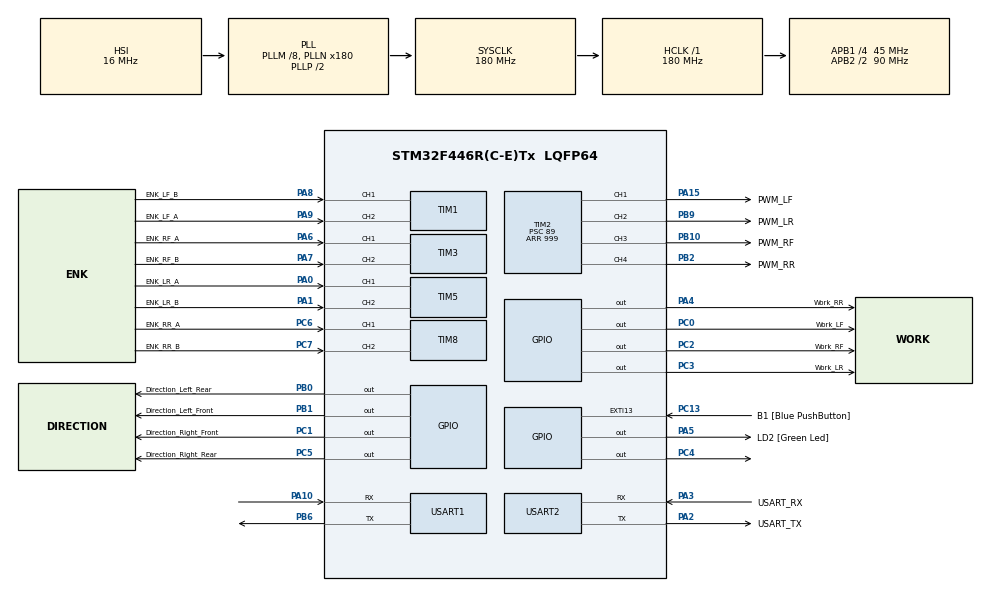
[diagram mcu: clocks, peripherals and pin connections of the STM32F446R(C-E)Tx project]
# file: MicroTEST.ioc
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Dma.Request0=USART2_RX
Dma.Request1=USART2_TX
Dma.USART2_RX.0.Direction=DMA_PERIPH_TO_MEMORY
Dma.USART2_RX.0.FIFOMode=DMA_FIFOMODE_DISABLE
Dma.USART2_RX.0.Instance=DMA1_Stream5
Dma.USART2_RX.0.MemDataAlignment=DMA_MDATAALIGN_BYTE
Dma.USART2_RX.0.MemInc=DMA_MINC_ENABLE
Dma.USART2_RX.0.Mode=DMA_CIRCULAR
Dma.USART2_RX.0.PeriphDataAlignment=DMA_PDATAALIGN_BYTE
Dma.USART2_RX.0.PeriphInc=DMA_PINC_DISABLE
Dma.USART2_RX.0.Priority=DMA_PRIORITY_VERY_HIGH
Dma.USART2_TX.1.Direction=DMA_MEMORY_TO_PERIPH
Dma.USART2_TX.1.FIFOMode=DMA_FIFOMODE_DISABLE
Dma.USART2_TX.1.Instance=DMA1_Stream6
Dma.USART2_TX.1.MemDataAlignment=DMA_MDATAALIGN_BYTE
Dma.USART2_TX.1.MemInc=DMA_MINC_ENABLE
Dma.USART2_TX.1.Mode=DMA_NORMAL
Dma.USART2_TX.1.PeriphDataAlignment=DMA_PDATAALIGN_BYTE
Dma.USART2_TX.1.PeriphInc=DMA_PINC_DISABLE
Dma.USART2_TX.1.Priority=DMA_PRIORITY_VERY_HIGH
FREERTOS.Tasks01=defaultTask,24,3000,StartDefaultTask,Default,NULL,Dynamic,NULL,NULL
Mcu.Family=STM32F4
Mcu.Name=STM32F446R(C-E)Tx
Mcu.Package=LQFP64
NVIC.DMA1_Stream5_IRQn=true\:5\:0\:false\:false\:true\:true\:false\:true\:true
NVIC.DMA1_Stream6_IRQn=true\:5\:0\:false\:false\:true\:true\:false\:true\:true
NVIC.PriorityGroup=NVIC_PRIORITYGROUP_4
NVIC.TIM6_DAC_IRQn=true\:15\:0\:false\:false\:true\:false\:false\:true\:true
NVIC.TimeBase=TIM6_DAC_IRQn
NVIC.TimeBaseIP=TIM6
NVIC.USART1_IRQn=true\:5\:0\:false\:false\:true\:true\:true\:true\:true
NVIC.USART2_IRQn=true\:5\:0\:false\:false\:true\:true\:true\:true\:true
PA0-WKUP.GPIO_Label=ENK_LR_A
PA0-WKUP.Signal=S_TIM5_CH1
PA1.GPIO_Label=ENK_LR_B
PA1.Signal=S_TIM5_CH2
PA10.Mode=Asynchronous
PA10.Signal=USART1_RX
PA13.GPIO_Label=TMS
PA13.Mode=Serial_Wire
PA13.Signal=SYS_JTMS-SWDIO
PA14.GPIO_Label=TCK
PA14.Mode=Serial_Wire
PA14.Signal=SYS_JTCK-SWCLK
PA15.GPIO_Label=PWM_LF
PA15.Signal=S_TIM2_CH1_ETR
PA2.GPIO_Label=USART_TX
PA2.Mode=Asynchronous
PA2.Signal=USART2_TX
PA3.GPIO_Label=USART_RX
PA3.Mode=Asynchronous
PA3.Signal=USART2_RX
PA4.GPIO_Label=Work_RR
PA4.Signal=GPIO_Output
PA5.GPIO_Label=LD2 [Green Led]
PA5.Signal=GPIO_Output
PA6.GPIO_Label=ENK_RF_A
PA6.Signal=S_TIM3_CH1
PA7.GPIO_Label=ENK_RF_B
PA7.Signal=S_TIM3_CH2
PA8.GPIO_Label=ENK_LF_B
PA8.Signal=S_TIM1_CH1
PA9.GPIO_Label=ENK_LF_A
PA9.Signal=S_TIM1_CH2
PB0.GPIO_Label=Direction_Left_Rear
PB0.Signal=GPIO_Output
PB1.GPIO_Label=Direction_Left_Front
PB1.Signal=GPIO_Output
PB10.GPIO_Label=PWM_RF
PB10.Signal=S_TIM2_CH3
PB2.GPIO_Label=PWM_RR
PB2.Signal=S_TIM2_CH4
PB3.GPIO_Label=SWO
PB3.Signal=SYS_JTDO-SWO
PB6.Mode=Asynchronous
PB6.Signal=USART1_TX
PB9.GPIO_Label=PWM_LR
PB9.Signal=S_TIM2_CH2
PC0.GPIO_Label=Work_LF
PC0.Signal=GPIO_Output
PC1.GPIO_Label=Direction_Right_Front
PC1.Signal=GPIO_Output
PC13.GPIO_Label=B1 [Blue PushButton]
PC13.GPIO_ModeDefaultEXTI=GPIO_MODE_IT_FALLING
PC13.Signal=GPXTI13
PC14-OSC32_IN.Mode=LSE-External-Oscillator
PC14-OSC32_IN.Signal=RCC_OSC32_IN
PC15-OSC32_OUT.Mode=LSE-External-Oscillator
PC15-OSC32_OUT.Signal=RCC_OSC32_OUT
PC2.GPIO_Label=Work_RF
PC2.Signal=GPIO_Output
PC3.GPIO_Label=Work_LR
PC3.Signal=GPIO_Output
PC4.Signal=GPIO_Output
PC5.GPIO_Label=Direction_Right_Rear
PC5.Signal=GPIO_Output
PC6.GPIO_Label=ENK_RR_A
PC6.Signal=S_TIM8_CH1
PC7.GPIO_Label=ENK_RR_B
PC7.Signal=S_TIM8_CH2
PH0-OSC_IN.Mode=HSE-External-Oscillator
PH0-OSC_IN.Signal=RCC_OSC_IN
PH1-OSC_OUT.Mode=HSE-External-Oscillator
PH1-OSC_OUT.Signal=RCC_OSC_OUT
ProjectManager.HeapSize=0x200
ProjectManager.StackSize=0x400
ProjectManager.TargetToolchain=STM32CubeIDE
RCC.48MHZClocksFreq_Value=84000000
RCC.AHBFreq_Value=180000000
RCC.APB1CLKDivider=RCC_HCLK_DIV4
RCC.APB1Freq_Value=45000000
RCC.APB1TimFreq_Value=90000000
RCC.APB2CLKDivider=RCC_HCLK_DIV2
RCC.APB2Freq_Value=90000000
RCC.APB2TimFreq_Value=180000000
RCC.CortexFreq_Value=180000000
RCC.FLatency-AdvancedSettings=FLASH_LATENCY_5
RCC.HCLKFreq_Value=180000000
RCC.HSE_VALUE=8000000
RCC.HSI_VALUE=16000000
RCC.PLLM=8
RCC.PLLN=180
RCC.SYSCLKFreq_VALUE=180000000
RCC.SYSCLKSource=RCC_SYSCLKSOURCE_PLLCLK
RCC.USBFreq_Value=180000000
RCC.VCOOutputFreq_Value=360000000
SH.S_TIM1_CH1.0=TIM1_CH1,Encoder_Interface
SH.S_TIM1_CH2.0=TIM1_CH2,Encoder_Interface
SH.S_TIM2_CH1_ETR.0=TIM2_CH1,PWM Generation1 CH1
SH.S_TIM2_CH2.0=TIM2_CH2,PWM Generation2 CH2
SH.S_TIM2_CH3.0=TIM2_CH3,PWM Generation3 CH3
SH.S_TIM2_CH4.0=TIM2_CH4,PWM Generation4 CH4
SH.S_TIM3_CH1.0=TIM3_CH1,Encoder_Interface
SH.S_TIM3_CH2.0=TIM3_CH2,Encoder_Interface
SH.S_TIM5_CH1.0=TIM5_CH1,Encoder_Interface
SH.S_TIM5_CH2.0=TIM5_CH2,Encoder_Interface
SH.S_TIM8_CH1.0=TIM8_CH1,Encoder_Interface
SH.S_TIM8_CH2.0=TIM8_CH2,Encoder_Interface
TIM1.EncoderMode=TIM_ENCODERMODE_TI12
TIM1.IC1Filter=5
TIM1.IC2Filter=5
TIM2.Channel-PWM\ Generation1\ CH1=TIM_CHANNEL_1
TIM2.Channel-PWM\ Generation2\ CH2=TIM_CHANNEL_2
TIM2.Channel-PWM\ Generation3\ CH3=TIM_CHANNEL_3
TIM2.Channel-PWM\ Generation4\ CH4=TIM_CHANNEL_4
TIM2.Period=999
TIM2.Prescaler=89
TIM3.EncoderMode=TIM_ENCODERMODE_TI12
TIM3.IC1Filter=5
TIM3.IC2Filter=5
TIM5.EncoderMode=TIM_ENCODERMODE_TI12
TIM5.IC1Filter=5
TIM5.IC2Filter=5
TIM8.EncoderMode=TIM_ENCODERMODE_TI12
TIM8.IC1Filter=5
TIM8.RepetitionCounter=5
USART1.VirtualMode=VM_ASYNC
USART2.VirtualMode=VM_ASYNC
VP_FREERTOS_VS_CMSIS_V2.Mode=CMSIS_V2
VP_SYS_VS_tim6.Mode=TIM6
board=NUCLEO-F446RE

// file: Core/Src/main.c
/* USER CODE BEGIN Header */
/**
  ******************************************************************************
  * @file           : main.c
  * @brief          : Main program body
  ******************************************************************************
  * @attention
  *
  * Copyright (c) 2025 STMicroelectronics.
  * All rights reserved.
  *
  * This software is licensed under terms that can be found in the LICENSE file
  * in the root directory of this software component.
  * If no LICENSE file comes with this software, it is provided AS-IS.
  *
  ******************************************************************************
  */
/* USER CODE END Header */
#include "main.h"
#include "cmsis_os.h"
#include "dma.h"
#include "tim.h"
#include "usart.h"
#include "gpio.h"

/* USER CODE BEGIN PD */

#define EXECUTE_EVERY_N_MS(MS, X)  do { \
    static volatile uint32_t init = 0; \
    if (init == 0) { init = HAL_GetTick();} \
    if (HAL_GetTick() - init > MS) { X; init = HAL_GetTick();} \
} while (0)
/* USER CODE END PD */

/* USER CODE BEGIN PV */
//char buffer[BUFSIZE];
//extern struct netif gnetif;
UART_HandleTypeDef *printf_uart=&huart1;

// Global variables

/* USER CODE END PV */

void SystemClock_Config(void);
void MX_FREERTOS_Init(void);

int main(void)
{

  /* MCU Configuration--------------------------------------------------------*/

  /* Reset of all peripherals, Initializes the Flash interface and the Systick. */
  HAL_Init();

  /* Configure the system clock */
  SystemClock_Config();

  /* Initialize all configured peripherals */
  MX_GPIO_Init();
  MX_DMA_Init();
  MX_USART2_UART_Init();
  MX_TIM1_Init();
  MX_TIM2_Init();
  MX_TIM3_Init();
  MX_TIM5_Init();
  MX_TIM8_Init();
  MX_USART1_UART_Init();

  /* Init scheduler */
  osKernelInitialize();

  /* Call init function for freertos objects (in cmsis_os2.c) */
  MX_FREERTOS_Init();

  /* Start scheduler */
  osKernelStart();

  /* We should never get here as control is now taken by the scheduler */

  /* Infinite loop */
  while (1)
  {

  }
}

void SystemClock_Config(void)
{
  RCC_OscInitTypeDef RCC_OscInitStruct = {0};
  RCC_ClkInitTypeDef RCC_ClkInitStruct = {0};

  /** Configure the main internal regulator output voltage
  */
  __HAL_RCC_PWR_CLK_ENABLE();
  __HAL_PWR_VOLTAGESCALING_CONFIG(PWR_REGULATOR_VOLTAGE_SCALE1);

  /** Initializes the RCC Oscillators according to the specified parameters
  * in the RCC_OscInitTypeDef structure.
  */
  RCC_OscInitStruct.OscillatorType = RCC_OSCILLATORTYPE_HSI;
  RCC_OscInitStruct.HSIState = RCC_HSI_ON;
  RCC_OscInitStruct.HSICalibrationValue = RCC_HSICALIBRATION_DEFAULT;
  RCC_OscInitStruct.PLL.PLLState = RCC_PLL_ON;
  RCC_OscInitStruct.PLL.PLLSource = RCC_PLLSOURCE_HSI;
  RCC_OscInitStruct.PLL.PLLM = 8;
  RCC_OscInitStruct.PLL.PLLN = 180;
  RCC_OscInitStruct.PLL.PLLP = RCC_PLLP_DIV2;
  RCC_OscInitStruct.PLL.PLLQ = 2;
  RCC_OscInitStruct.PLL.PLLR = 2;
  if (HAL_RCC_OscConfig(&RCC_OscInitStruct) != HAL_OK)
  {
    Error_Handler();
  }

  /** Activate the Over-Drive mode
  */
  if (HAL_PWREx_EnableOverDrive() != HAL_OK)
  {
    Error_Handler();
  }

  /** Initializes the CPU, AHB and APB buses clocks
  */
  RCC_ClkInitStruct.ClockType = RCC_CLOCKTYPE_HCLK|RCC_CLOCKTYPE_SYSCLK
                              |RCC_CLOCKTYPE_PCLK1|RCC_CLOCKTYPE_PCLK2;
  RCC_ClkInitStruct.SYSCLKSource = RCC_SYSCLKSOURCE_PLLCLK;
  RCC_ClkInitStruct.AHBCLKDivider = RCC_SYSCLK_DIV1;
  RCC_ClkInitStruct.APB1CLKDivider = RCC_HCLK_DIV4;
  RCC_ClkInitStruct.APB2CLKDivider = RCC_HCLK_DIV2;

  if (HAL_RCC_ClockConfig(&RCC_ClkInitStruct, FLASH_LATENCY_5) != HAL_OK)
  {
    Error_Handler();
  }
}

void HAL_TIM_PeriodElapsedCallback(TIM_HandleTypeDef *htim)
{
  if (htim->Instance == TIM6) {
    HAL_IncTick();
  }
}

void Error_Handler(void)
{
  __disable_irq();
  while (1)
  {
  }
}

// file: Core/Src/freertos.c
/* USER CODE BEGIN Header */
/**
  ******************************************************************************
  * File Name          : freertos.c
  * Description        : Code for freertos applications
  ******************************************************************************
  * @attention
  *
  * Copyright (c) 2025 STMicroelectronics.
  * All rights reserved.
  *
  * This software is licensed under terms that can be found in the LICENSE file
  * in the root directory of this software component.
  * If no LICENSE file comes with this software, it is provided AS-IS.
  *
  ******************************************************************************
  */
/* USER CODE END Header */

#include "FreeRTOS.h"
#include "task.h"
#include "main.h"
#include "cmsis_os.h"

/* USER CODE BEGIN Includes */
#include <rcl/rcl.h>
#include <rcl/error_handling.h>
#include <rclc/rclc.h>
#include <rclc/executor.h>
#include <uxr/client/transport.h>
#include <rmw_microxrcedds_c/config.h>
#include <rmw_microros/rmw_microros.h>
#include "std_msgs/msg/string.h"
#include <stdio.h>
#include <math.h>
#include <geometry_msgs/msg/twist.h>
#include <std_msgs/msg/float32_multi_array.h>
#include <sensor_msgs/msg/joint_state.h>
#include "dma.h"
#include "tim.h"
#include "usart.h"
#include "gpio.h"
/* USER CODE END Includes */

/* USER CODE BEGIN PD */
#define FRAME_TIME 1
#define PWM_MOTOR_MIN 0
#define PWM_MOTOR_MAX 1000
#define ENCODER_COUNTS_PER_REV 120
#define ENCODER_SAMPLE_TIME_MS 500
#define constrain(amt, low, high) ((amt) < (low) ? (low) : ((amt) > (high) ? (high) : (amt)))
#define RCCHECK(fn) { rcl_ret_t temp_rc = fn; if((temp_rc != RCL_RET_OK)){printf("Failed status on line %d: %d. Aborting.\n",__LINE__,(int)temp_rc); vTaskDelete(NULL);}}
#define RCSOFTCHECK(fn) { rcl_ret_t temp_rc = fn; if((temp_rc != RCL_RET_OK)){printf("Failed status on line %d: %d. Continuing.\n",__LINE__,(int)temp_rc);}}

/* USER CODE END PD */

/* USER CODE BEGIN Variables */
geometry_msgs__msg__Twist msg;
rcl_subscription_t subscriber;
rcl_node_t node;
rclc_support_t support;
rcl_timer_t timer;
rcl_timer_t encoder_timer;
rclc_executor_t executor;
rcl_publisher_t encoder_publisher;
sensor_msgs__msg__JointState joint_state_msg;
static uint32_t last_connected_time = 0;
bool is_connected = false;

int32_t enc1_total = 0;
int32_t enc2_total = 0;
int32_t enc3_total = 0;
int32_t enc4_total = 0;
double joint_positions[4];  // Pozycje w radianach (float64)
double joint_velocities[4]; // Prędkości w rad/s (float64)
double joint_efforts[4];    // Moment obrotowy (float64) - pomijamy, ale musi być obecny
static rosidl_runtime_c__String joint_names[4];
/* USER CODE END Variables */
/* Definitions for defaultTask */
osThreadId_t defaultTaskHandle;
const osThreadAttr_t defaultTask_attributes = {
  .name = "defaultTask",
  .stack_size = 3000 * 4,
  .priority = (osPriority_t) osPriorityNormal,
};

/* USER CODE BEGIN FunctionPrototypes */
bool cubemx_transport_open(struct uxrCustomTransport * transport);
bool cubemx_transport_close(struct uxrCustomTransport * transport);
size_t cubemx_transport_write(struct uxrCustomTransport* transport, const uint8_t * buf, size_t len, uint8_t * err);
size_t cubemx_transport_read(struct uxrCustomTransport* transport, uint8_t* buf, size_t len, int timeout, uint8_t* err);

void * microros_allocate(size_t size, void * state);
void microros_deallocate(void * pointer, void * state);
void * microros_reallocate(void * pointer, size_t size, void * state);
static void setupPins(void);
static void update_encoders(void);
static void encoder_timer_callback(rcl_timer_t *timer, int64_t last_call_time);
static void cmd_vel_callback(const void *msgin);
static void timer_callback(rcl_timer_t *timer, int64_t last_call_time);
static float fmap(float val, float in_min, float in_max, float out_min, float out_max);
void * microros_zero_allocate(size_t number_of_elements, size_t size_of_element, void * state);

static void cleanup(void);
/* USER CODE END FunctionPrototypes */

void StartDefaultTask(void *argument);

void MX_FREERTOS_Init(void); /* (MISRA C 2004 rule 8.1) */

void MX_FREERTOS_Init(void) {

  /* Create the thread(s) */
  /* creation of defaultTask */
  defaultTaskHandle = osThreadNew(StartDefaultTask, NULL, &defaultTask_attributes);

}

void StartDefaultTask(void *argument)
{
	//NVIC_SystemReset();
	 //is_connected = false;

	 rmw_uros_set_custom_transport(
	        true,
	        (void *) &huart2,
	        cubemx_transport_open,
	        cubemx_transport_close,
	        cubemx_transport_write,
	        cubemx_transport_read);

	    rcl_allocator_t freeRTOS_allocator = rcutils_get_zero_initialized_allocator();
	    freeRTOS_allocator.allocate = microros_allocate;
	    freeRTOS_allocator.deallocate = microros_deallocate;
	    freeRTOS_allocator.reallocate = microros_reallocate;
	    freeRTOS_allocator.zero_allocate = microros_zero_allocate;

	    if (!rcutils_set_default_allocator(&freeRTOS_allocator)) {
	        printf("Error setting allocator\n");
	    }

	    HAL_Init();
	    SystemClock_Config();
	    Init_joint_state_msg();
	    MX_GPIO_Init();
	    MX_TIM2_Init();
	    MX_TIM1_Init();
	    MX_TIM3_Init();
	    MX_TIM5_Init();
	    MX_TIM8_Init();
	    setupPins();

	    rmw_ret_t ret = rmw_uros_ping_agent(100, 10);
	    	           if (ret == RMW_RET_OK) {
	    	               is_connected = true;

	    RCCHECK(rclc_support_init(&support, 0, NULL, &freeRTOS_allocator));

	    // Tu sie wypierdala

	    RCCHECK(rclc_node_init_default(&node, "ros_stm32_diffdrive", "", &support));
	    RCCHECK(rclc_subscription_init_default(
	        &subscriber,
	        &node,
	        ROSIDL_GET_MSG_TYPE_SUPPORT(geometry_msgs, msg, Twist),
	        "/cmd_vel"));

	    RCCHECK(rclc_publisher_init_default(
	        &encoder_publisher,
	        &node,
	        ROSIDL_GET_MSG_TYPE_SUPPORT(sensor_msgs, msg, JointState),
	        "/JointState"));

	    RCCHECK(rclc_timer_init_default(&timer, &support, RCL_MS_TO_NS(FRAME_TIME), timer_callback));
	    RCCHECK(rclc_timer_init_default(&encoder_timer, &support, RCL_MS_TO_NS(ENCODER_SAMPLE_TIME_MS), encoder_timer_callback));
	    RCCHECK(rclc_executor_init(&executor, &support.context, 3, &freeRTOS_allocator));
	    RCCHECK(rclc_executor_add_subscription(&executor, &subscriber, &msg, &cmd_vel_callback, ON_NEW_DATA));
	    RCCHECK(rclc_executor_add_timer(&executor, &timer));
	    RCCHECK(rclc_executor_add_timer(&executor, &encoder_timer));
	  }else {
		  HAL_GPIO_WritePin(LD2_GPIO_Port, LD2_Pin, SET);
		  HAL_Delay(200);
		  HAL_GPIO_WritePin(LD2_GPIO_Port, LD2_Pin, RESET);
          NVIC_SystemReset();
      }

/*
	    while (1) {
	        RCSOFTCHECK(rclc_executor_spin_some(&executor, RCL_MS_TO_NS(FRAME_TIME)));
	        update_encoders();
	        HAL_Delay(FRAME_TIME);
	    }

	    cleanup();
*/
	    while (1) {

	    	 rmw_ret_t ret = rmw_uros_ping_agent(100, 10);
	           if (ret == RMW_RET_OK) {
	               is_connected = true;
	               last_connected_time = HAL_GetTick();
	           } else {
	               is_connected = false;
	           }

	           if (is_connected) {
	               // Kontynuuj normalne operacje
	               RCSOFTCHECK(rclc_executor_spin_some(&executor, RCL_MS_TO_NS(FRAME_TIME)));
	               update_encoders();
	               HAL_Delay(FRAME_TIME);
	           } else {
	               uint32_t current_time = HAL_GetTick();
	               uint32_t time_since_last = (last_connected_time == 0) ? current_time : (current_time - last_connected_time);
	               if (time_since_last >= 100) {
	            	   cleanup();
	            	   HAL_Delay(200);
	                   NVIC_SystemReset(); // Resetuj MCU po 3 sekundach bez połączenia
	               }

	           }
	       }

	       cleanup();
	       is_connected = false;
}

/* USER CODE BEGIN Application */
void Init_joint_state_msg() {
    // Nagłówek
    //joint_state_msg.header.frame_id = NULL;  // Nie wymagane dla jointów
	joint_state_msg.header.frame_id.data = (char*)"base_link";
	joint_state_msg.header.frame_id.size = strlen(joint_state_msg.header.frame_id.data);
	joint_state_msg.header.frame_id.capacity = joint_state_msg.header.frame_id.size + 1;

	    // Nazwy jointów
	    const char* names[] = {
	        "left_front_wheel_joint",
	        "left_rear_wheel_joint",
	        "right_front_wheel_joint",
	        "right_rear_wheel_joint"
	    };

	    for(int i = 0; i < 4; i++) {
	        joint_names[i].data = (char*)names[i];
	        joint_names[i].size = strlen(names[i]);
	        joint_names[i].capacity = joint_names[i].size + 1;
	    }
    // Nazwy jointów
    joint_state_msg.name.data = joint_names;
    joint_state_msg.name.size = 4;
    joint_state_msg.name.capacity = 4;

    // Pozycje
    joint_state_msg.position.data = joint_positions;
    joint_state_msg.position.size = 4;
    joint_state_msg.position.capacity = 4;

    // Prędkości
    joint_state_msg.velocity.data = joint_velocities;
    joint_state_msg.velocity.size = 4;
    joint_state_msg.velocity.capacity = 4;

    // Effort (nieużywany - inicjalizujemy jako pusty)
    joint_state_msg.effort.data = NULL;
    joint_state_msg.effort.size = 0;
    joint_state_msg.effort.capacity = 0;
}
static void setupPins(void) {
	enc1_total = 0;
	enc2_total = 0;
	enc3_total = 0;
	enc4_total = 0;
    if (HAL_TIM_PWM_Start(&htim2, TIM_CHANNEL_1) != HAL_OK ||
        HAL_TIM_PWM_Start(&htim2, TIM_CHANNEL_2) != HAL_OK ||
        HAL_TIM_PWM_Start(&htim2, TIM_CHANNEL_3) != HAL_OK ||
        HAL_TIM_PWM_Start(&htim2, TIM_CHANNEL_4) != HAL_OK) {
        Error_Handler();
    }
    if (HAL_TIM_Encoder_Start(&htim1, TIM_CHANNEL_ALL) != HAL_OK ||
        HAL_TIM_Encoder_Start(&htim3, TIM_CHANNEL_ALL) != HAL_OK ||
        HAL_TIM_Encoder_Start(&htim5, TIM_CHANNEL_ALL) != HAL_OK ||
        HAL_TIM_Encoder_Start(&htim8, TIM_CHANNEL_ALL) != HAL_OK) {
        Error_Handler();
    }
}

static void update_encoders(void) {
    static uint16_t prev_enc1 = 0, prev_enc2 = 0, prev_enc3 = 0, prev_enc4 = 0;
    uint16_t current_enc1 = htim1.Instance->CNT;
    uint16_t current_enc2 = htim3.Instance->CNT;
    uint16_t current_enc3 = htim8.Instance->CNT;
    uint16_t current_enc4 = htim5.Instance->CNT;

    enc1_total += (int16_t)(current_enc1 - prev_enc1);
    enc2_total += (int16_t)(current_enc2 - prev_enc2);
    enc3_total += (int16_t)(current_enc3 - prev_enc3);
    enc4_total += (int16_t)(current_enc4 - prev_enc4);

    prev_enc1 = current_enc1;
    prev_enc2 = current_enc2;
    prev_enc3 = current_enc3;
    prev_enc4 = current_enc4;
}

static void encoder_timer_callback(rcl_timer_t *timer, int64_t last_call_time) {
    (void)last_call_time;
    if (!timer) return;

    // Aktualizacja timestampu
    int64_t time_ns = rmw_uros_epoch_nanos();
    joint_state_msg.header.stamp.sec = time_ns / 1000000000;
    joint_state_msg.header.stamp.nanosec = time_ns % 1000000000;

    // Obliczenia pozycji (double precision)
    const double rad_per_count = (2 * M_PI) / ENCODER_COUNTS_PER_REV;
    joint_positions[0] = enc1_total * rad_per_count;
    joint_positions[1] = enc2_total * rad_per_count;
    joint_positions[2] = enc3_total * rad_per_count;
    joint_positions[3] = enc4_total * rad_per_count;

    // Obliczenia prędkości (double precision)
    static int32_t prev_enc0  = 0, prev_enc1  = 0, prev_enc2  = 0, prev_enc3  = 0;
    int32_t delta0 = enc1_total - prev_enc0;
    int32_t delta1 = enc2_total - prev_enc1;
    int32_t delta2 = enc3_total - prev_enc2;
    int32_t delta3 = enc4_total - prev_enc3;

    const double time_interval = ENCODER_SAMPLE_TIME_MS / 1000.0;
    const double rpm_factor = 60.0f / (ENCODER_COUNTS_PER_REV * time_interval);
    const float rpm_to_rad = 0.10472;
    joint_velocities[0] = delta0 * rpm_factor * rpm_to_rad;
    joint_velocities[1] = delta1 * rpm_factor * rpm_to_rad;
    joint_velocities[2] = delta2 * rpm_factor * rpm_to_rad;
    joint_velocities[3] = delta3 * rpm_factor * rpm_to_rad;

    prev_enc0 = enc1_total;
    prev_enc1 = enc2_total;
    prev_enc2 = enc3_total;
    prev_enc3 = enc4_total;

    RCSOFTCHECK(rcl_publish(&encoder_publisher, &joint_state_msg, NULL));
}

static void cmd_vel_callback(const void *msgin) {
    const geometry_msgs__msg__Twist *twist_msg = (const geometry_msgs__msg__Twist *)msgin;
    if (twist_msg) {
        msg = *twist_msg;
    }
}

static void timer_callback(rcl_timer_t *timer, int64_t last_call_time) {
    (void)last_call_time;
    if (!timer) return;

    float linear = constrain(msg.linear.x, -1, 1);
    float angular = constrain(msg.angular.z, -1, 1);
    float left = linear - angular;
    float right = linear + angular;

    float max_value = fmax(fabs(left), fabs(right));
    if (max_value > 1.0f) {
        left /= max_value;
        right /= max_value;
    }

    uint16_t pwmValueLeft = (uint16_t)fmap(fabs(left), 0, 1, PWM_MOTOR_MIN, PWM_MOTOR_MAX);
    uint16_t pwmValueRight = (uint16_t)fmap(fabs(right), 0, 1, PWM_MOTOR_MIN, PWM_MOTOR_MAX);

    HAL_GPIO_WritePin(Direction_Left_Front_GPIO_Port, Direction_Left_Front_Pin, left >= 0 ? GPIO_PIN_RESET : GPIO_PIN_SET);
    HAL_GPIO_WritePin(Direction_Left_Rear_GPIO_Port, Direction_Left_Rear_Pin, left >= 0 ? GPIO_PIN_RESET : GPIO_PIN_SET);
    HAL_GPIO_WritePin(Direction_Right_Front_GPIO_Port, Direction_Right_Front_Pin, right >= 0 ? GPIO_PIN_SET : GPIO_PIN_RESET);
    HAL_GPIO_WritePin(Direction_Right_Rear_GPIO_Port, Direction_Right_Rear_Pin, right >= 0 ? GPIO_PIN_SET : GPIO_PIN_RESET);

    __HAL_TIM_SET_COMPARE(&htim2, TIM_CHANNEL_1, pwmValueLeft);
    __HAL_TIM_SET_COMPARE(&htim2, TIM_CHANNEL_2, pwmValueLeft);
    __HAL_TIM_SET_COMPARE(&htim2, TIM_CHANNEL_3, pwmValueRight);
    __HAL_TIM_SET_COMPARE(&htim2, TIM_CHANNEL_4, pwmValueRight);
}

static float fmap(float val, float in_min, float in_max, float out_min, float out_max) {
    return (val - in_min) * (out_max - out_min) / (in_max - in_min) + out_min;
}

static void cleanup(void) {
    rcl_timer_fini(&encoder_timer);
    rcl_publisher_fini(&encoder_publisher, &node);
    rcl_timer_fini(&timer);
    rcl_subscription_fini(&subscriber, &node);
    rcl_node_fini(&node);
    rclc_support_fini(&support);
}
/* USER CODE END Application */
